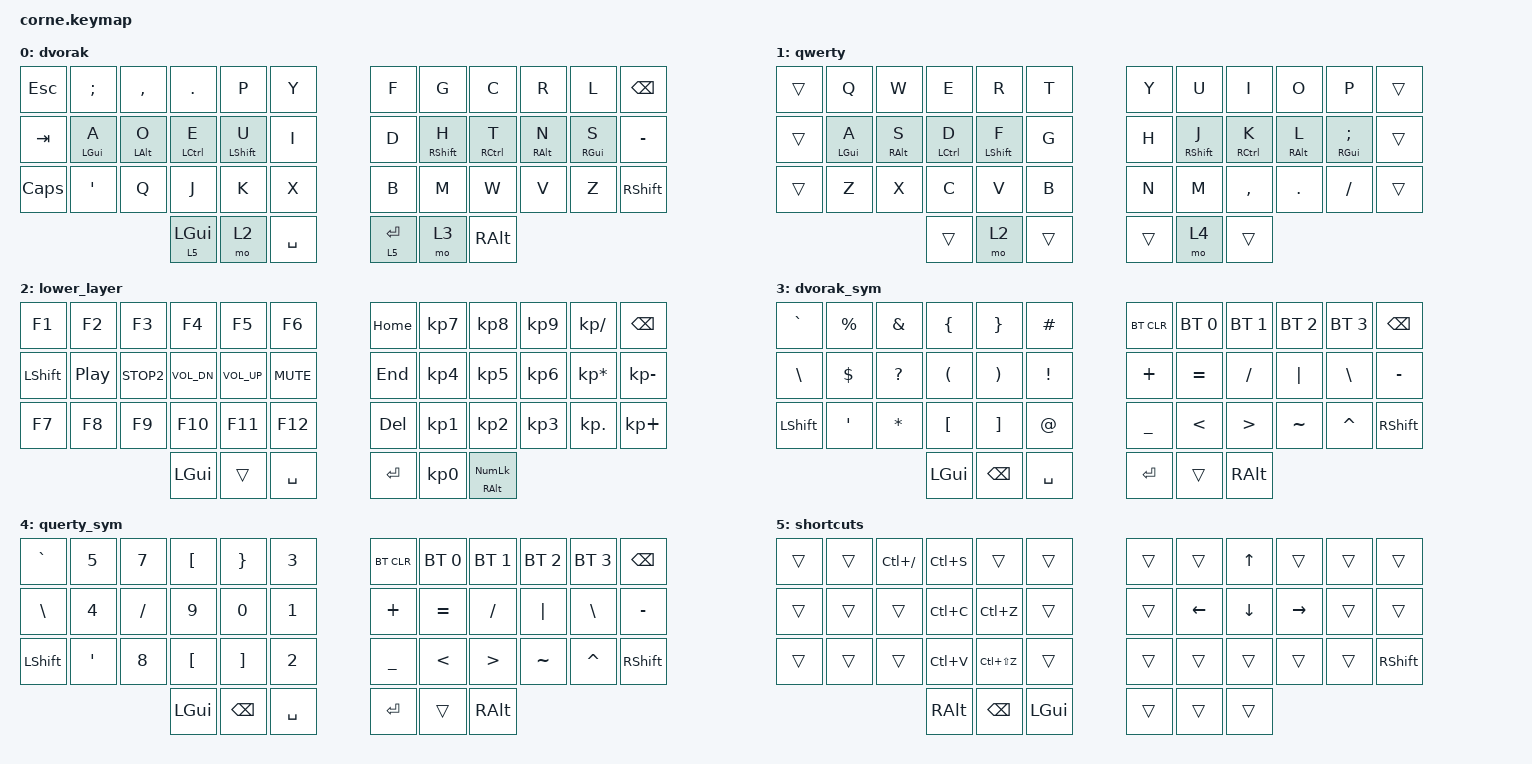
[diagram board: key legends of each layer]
/*
 * Copyright (c) 2020 The ZMK Contributors
 *
 * SPDX-License-Identifier: MIT
 */

#include <behaviors.dtsi>
#include <dt-bindings/zmk/bt.h>
#include <dt-bindings/zmk/keys.h>

&mt {
    flavor = "tap-preferred";
    tapping-term-ms = <200>;
    require-prior-idle-ms = <150>;
    retro-tap;
    hold-trigger-on-release;
};

/ {
    behaviors {
        shiftesc: shift_esc {
            compatible = "zmk,behavior-mod-morph";
            #binding-cells = <0>;
            bindings = <&kp RSHIFT>, <&kp ESC>;

            mods = <(MOD_LSFT)>;
        };
        hml: home_row_mod_left {
            compatible = "zmk,behavior-hold-tap";
            #binding-cells = <2>;
            flavor = "tap-preferred";
            require-prior-idle-ms = <150>;
            tapping-term-ms = <280>;
            quick-tap-ms = <175>;
            bindings = <&kp>, <&kp>;
            hold-trigger-key-positions = <6 7 8 9 10 11 18 19 20 21 22 23 30 31 32 33 34 35 39 40 41>; // Right-hand positions
            hold-trigger-on-release;
        };
        hmr: home_row_mod_right {
            compatible = "zmk,behavior-hold-tap";
            #binding-cells = <2>;
            flavor = "tap-preferred";
            require-prior-idle-ms = <150>;
            tapping-term-ms = <280>;
            quick-tap-ms = <175>;
            bindings = <&kp>, <&kp>;
            hold-trigger-key-positions = <0 1 2 3 4 5 12 13 14 15 16 17 24 25 26 27 28 29 36 37 38>; // Left-hand positions
            hold-trigger-on-release;
        };
    };
};

/ {
    combos {
        compatible = "zmk,combos";

        toggle_os {
            bindings = <&tog 1>;
            key-positions = <39 38>;
        };
    };

    keymap {
        compatible = "zmk,keymap";

        dvorak {
            bindings = <
&kp ESCAPE    &kp SEMI        &kp COMMA       &kp DOT             &kp P             &kp Y        &kp F      &kp G        &kp C        &kp R            &kp L       &kp BSPC
&kp TAB       &hml LEFT_GUI A  &hml LEFT_ALT O  &hml LEFT_CONTROL E  &hml LEFT_SHIFT U  &kp I        &kp D      &hmr RSHFT H  &hmr RCTRL T  &hmr RIGHT_ALT N  &hmr RGUI S  &kp MINUS
&kp CAPSLOCK  &kp SQT         &kp Q           &kp J               &kp K             &kp X        &kp B      &kp M        &kp W        &kp V            &kp Z       &kp RIGHT_SHIFT
                                              &lt 5 LGUI          &mo 2             &kp SPACE    &lt 5 RET  &mo 3        &kp RALT
            >;
        };

        qwerty {
            bindings = <
&trans  &kp Q           &kp W            &kp E        &kp R        &kp T     &kp Y   &kp U        &kp I        &kp O            &kp P               &trans
&trans  &hml LEFT_GUI A  &hml RIGHT_ALT S  &hml LCTRL D  &hml LSHFT F  &kp G     &kp H   &hmr RSHFT J  &hmr RCTRL K  &hmr RIGHT_ALT L  &hmr RIGHT_GUI SEMI  &trans
&trans  &kp Z           &kp X            &kp C        &kp V        &kp B     &kp N   &kp M        &kp COMMA    &kp PERIOD       &kp SLASH           &trans
                                         &trans       &mo 2        &trans    &trans  &mo 4        &trans
            >;
        };

        lower_layer {
            // -----------------------------------------------------------------------------------------
            // | F1   | F2   | F3   | F4     |F5      | F6   |        | HOME    |  7  |  8  |  9  |  /  | BKSP |
            // | SHFT | PLAY | STOP | VOL_DN | VOL_UP | MUTE |        | END     |  4  |  5  |  6  |  *  | -    |
            // | F7   | F8   | F9   | F10    | F11    | F12  |        | DEL     |  1  |  2  |  3  |  .  | +    |
            //                    | GUI    |        | SPC  |        | ENTER   |  0  | NUM |

            bindings = <
&kp F1     &kp F2            &kp F3       &kp F4        &kp F5        &kp F6        &kp HOME  &kp KP_N7  &kp KP_N8        &kp KP_N9  &kp KP_SLASH     &kp BSPC
&kp LSHFT  &kp C_PLAY_PAUSE  &kp K_STOP2  &kp K_VOL_DN  &kp K_VOL_UP  &kp K_MUTE    &kp END   &kp KP_N4  &kp KP_N5        &kp KP_N6  &kp KP_ASTERISK  &kp KP_MINUS
&kp F7     &kp F8            &kp F9       &kp F10       &kp F11       &kp F12       &kp DEL   &kp KP_N1  &kp KP_N2        &kp KP_N3  &kp KP_DOT       &kp KP_PLUS
                                          &kp LGUI      &trans        &kp SPACE     &kp RET   &kp KP_N0  &mt RALT KP_NUM
            >;
        };

        dvorak_sym {
            // -----------------------------------------------------------------------------------------
            // |  `   |  %  |  &  |  {  |  }   | #   |   | BTCLR | BT1 | BT2 | BT3 | BT5 | BKSP |
            // |  \   |  $  |  ?  |  (  |  )   | !   |   |   +   |  =  |  /  | "|" | \   | -    |
            // | SHFT | '   |  *  |  [  |  ]   | @   |   |   _   |  <  |  >  | ~   |  ^  | SHFT |
            //                    | GUI | BKSP | SPC |   | ENT |     | ALT |

            bindings = <
&kp GRAVE  &kp PRCNT  &kp AMPS   &kp LBRC  &kp RBRC  &kp HASH     &bt BT_CLR  &bt BT_SEL 0  &bt BT_SEL 1  &bt BT_SEL 2  &bt BT_SEL 3  &kp BSPC
&kp BSLH   &kp DLLR   &kp QMARK  &kp LPAR  &kp RPAR  &kp EXCL     &kp PLUS    &kp EQUAL     &kp SLASH     &kp PIPE      &kp BSLH      &kp MINUS
&kp LSHFT  &kp SQT    &kp ASTRK  &kp LBKT  &kp RBKT  &kp AT       &kp UNDER   &kp LT        &kp GT        &kp TILDE     &kp CARET     &kp RSHIFT
                                 &kp LGUI  &kp BSPC  &kp SPACE    &kp RET     &trans        &kp RALT
            >;
        };

        querty_sym {
            bindings = <
&kp GRAVE  &kp N5        &kp N7     &kp LEFT_BRACKET  &kp RBRC  &kp NUMBER_3    &bt BT_CLR  &bt BT_SEL 0  &bt BT_SEL 1  &bt BT_SEL 2  &bt BT_SEL 3  &kp BSPC
&kp BSLH   &kp NUMBER_4  &kp SLASH  &kp N9            &kp N0    &kp NUMBER_1    &kp PLUS    &kp EQUAL     &kp SLASH     &kp PIPE      &kp BSLH      &kp MINUS
&kp LSHFT  &kp SQT       &kp N8     &kp LBKT          &kp RBKT  &kp NUMBER_2    &kp UNDER   &kp LT        &kp GT        &kp TILDE     &kp CARET     &kp RSHIFT
                                    &kp LGUI          &kp BSPC  &kp SPACE       &kp RET     &trans        &kp RALT
            >;
        };

        shortcuts {
            bindings = <
&trans  &trans  &kp LC(SLASH)  &kp LC(S)  &trans         &trans      &trans  &trans          &kp UP_ARROW    &trans           &trans  &trans
&trans  &trans  &trans         &kp LC(C)  &kp LC(Z)      &trans      &trans  &kp LEFT_ARROW  &kp DOWN_ARROW  &kp RIGHT_ARROW  &trans  &trans
&trans  &trans  &trans         &kp LC(V)  &kp LC(LS(Z))  &trans      &trans  &trans          &trans          &trans           &trans  &kp RSHIFT
                               &kp RALT   &kp BSPC       &kp LGUI    &trans  &trans          &trans
            >;
        };
    };
};
